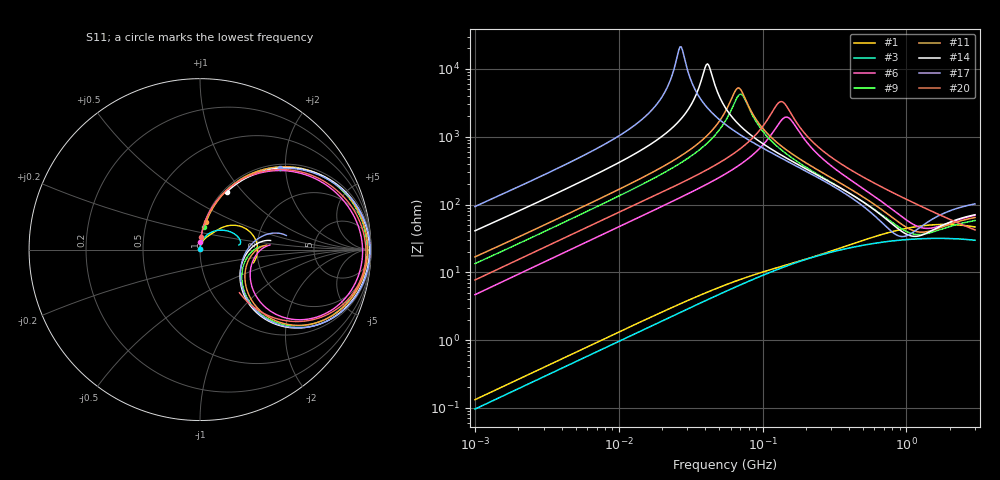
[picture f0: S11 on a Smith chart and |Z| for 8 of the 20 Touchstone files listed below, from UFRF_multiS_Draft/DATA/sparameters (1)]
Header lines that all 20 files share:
# Hz S RI R 50
!Freq.(Hz) S11(Real) S11(Imag) S21(Real) S21(Imag) S12(Real) S12(Imag) S22(Real) S22(Imag)
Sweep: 1 MHz to 3 GHz
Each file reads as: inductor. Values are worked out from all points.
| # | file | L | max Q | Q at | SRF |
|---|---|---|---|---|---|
| 1 | BLE18PK100SN1_series.s2p | 21 nH | 28.4 | 2.461 MHz | 1.861 GHz |
| 2 | BLE18PK160SN1_series.s2p | 38 nH | 27.9 | 2.015 MHz | 1.419 GHz |
| 3 | BLE18PS080BH1_series.s2p | 15.3 nH | 55.9 | 2.775 MHz | - |
| 4 | BLE32PN260SH1_series.s2p | 62.2 nH | 73.9 | 1.041 MHz | - |
| 5 | NFZ5BBW2R9LN10_series.s2p | 442 nH | 56.8 | 1.897 MHz | 2.211 GHz |
| 6 | NFZ5BBW4R5LN10_series.s2p | 744 nH | 139 | 1.041 MHz | 145.8 MHz |
| 7 | NFZ5BBW6R7LN10_series.s2p | 1.03 uH | 42 | 2.511 MHz | 182.2 MHz |
| 8 | NFZ5BBW100LN10_series.s2p | 1.55 uH | 39.5 | 3.979 MHz | 89.09 MHz |
| 9 | NFZ5BBW140LN10_series.s2p | 2.12 uH | 36.2 | 4.226 MHz | 70.29 MHz |
| 10 | NFZ5BBW141LN10_series.s2p | 22 uH | 22.6 | 3.673 MHz | 20.54 MHz |
| 11 | NFZ5BBW170LN10_series.s2p | 2.66 uH | 33.5 | 4.487 MHz | 67.85 MHz |
| 12 | NFZ5BBW220LN10_series.s2p | 3.12 uH | 31.8 | 4.959 MHz | 63.01 MHz |
| 13 | NFZ5BBW310LN10_series.s2p | 4.94 uH | 30.1 | 4.578 MHz | 47.61 MHz |
| 14 | NFZ5BBW450LN10_series.s2p | 6.43 uH | 27.9 | 4.861 MHz | 40.57 MHz |
| 15 | NFZ5BBW520LN10_series.s2p | 8.14 uH | 24.9 | 4.487 MHz | 35.26 MHz |
| 16 | NFZ5BBW610LN10_series.s2p | 9.33 uH | 26.1 | 4.578 MHz | 33.21 MHz |
| 17 | NFZ5BBW970LN10_series.s2p | 14.7 uH | 23.9 | 4.226 MHz | 26.65 MHz |
| 18 | NFZ32BW6R8HN11_series.s2p | 978 nH | 27.2 | 4.142 MHz | 161.4 MHz |
| 19 | NFZ32BW7R4HN10_series.s2p | 1.04 uH | 26.5 | 2.775 MHz | 160.3 MHz |
| 20 | NFZ32BW8R4HN11_series.s2p | 1.23 uH | 84.3 | 1.041 MHz | 134.1 MHz |
